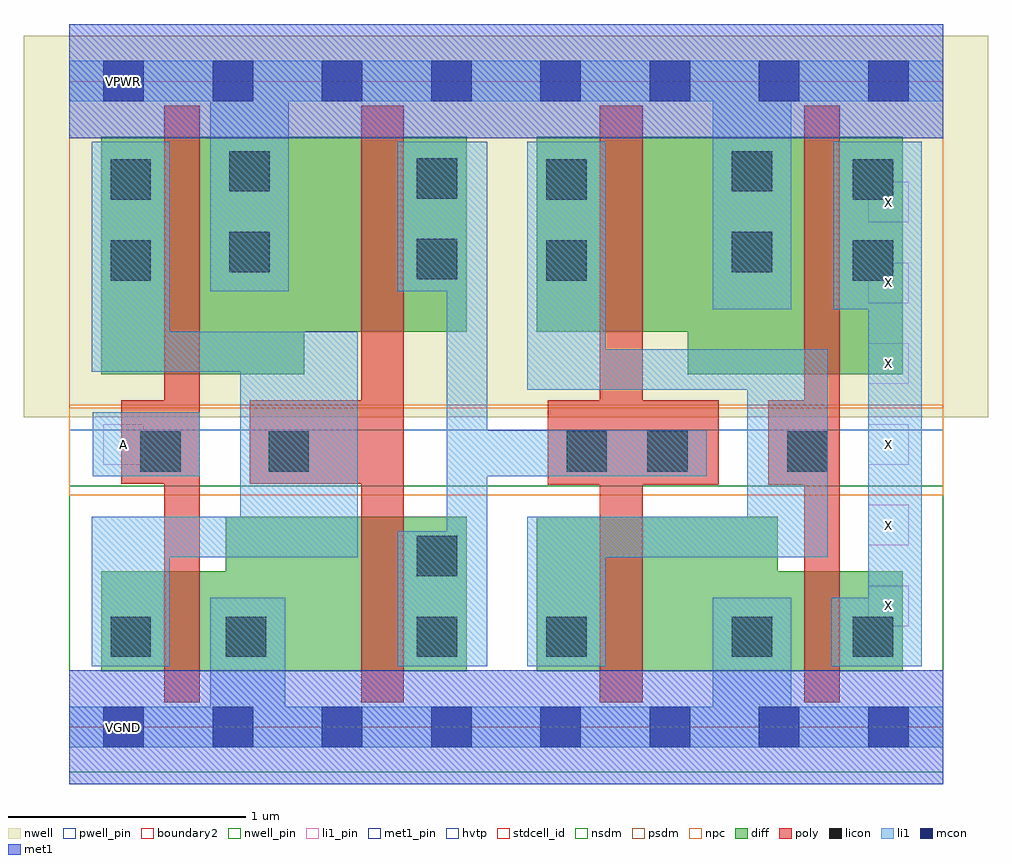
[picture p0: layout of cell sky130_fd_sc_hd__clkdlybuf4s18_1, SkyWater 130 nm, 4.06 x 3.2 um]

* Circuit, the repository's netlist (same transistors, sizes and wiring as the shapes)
* Copyright 2020 The SkyWater PDK Authors
*
* Licensed under the Apache License, Version 2.0 (the "License");
* you may not use this file except in compliance with the License.
* You may obtain a copy of the License at
*
*     https://www.apache.org/licenses/LICENSE-2.0
*
* Unless required by applicable law or agreed to in writing, software
* distributed under the License is distributed on an "AS IS" BASIS,
* WITHOUT WARRANTIES OR CONDITIONS OF ANY KIND, either express or implied.
* See the License for the specific language governing permissions and
* limitations under the License.
*
* SPDX-License-Identifier: Apache-2.0

.SUBCKT sky130_fd_sc_hd__clkdlybuf4s18_1 A VGND VNB VPB VPWR X
*.PININFO A:I VGND:I VNB:I VPB:I VPWR:I X:O
MMIN1 Ab A VGND VNB sky130_fd_pr__nfet_01v8 m=1 w=0.42u l=0.15u mult=1 sa=0.265
+ sb=0.265 sd=0.28 area=0.063 perim=1.14
MMIN2 A2 Ab VGND VNB sky130_fd_pr__nfet_01v8 m=1 w=0.65u l=0.18U mult=1 sa=0.265
+ sb=0.265 sd=0.28 area=0.063 perim=1.14
MI5 Ab2 A2 VGND VNB sky130_fd_pr__nfet_01v8 m=1 w=0.65u l=0.18U mult=1 sa=0.265
+ sb=0.265 sd=0.28 area=0.063 perim=1.14
MI4 X Ab2 VGND VNB sky130_fd_pr__nfet_01v8 m=1 w=0.42u l=0.15u mult=1 sa=0.265
+ sb=0.265 sd=0.28 area=0.063 perim=1.14
MMIP1 Ab A VPWR VPB sky130_fd_pr__pfet_01v8_hvt m=1 w=1.0u l=0.15u mult=1 sa=0.265
+ sb=0.265 sd=0.28 area=0.063 perim=1.14
MMIP2 A2 Ab VPWR VPB sky130_fd_pr__pfet_01v8_hvt m=1 w=0.82U l=0.18U mult=1 sa=0.265
+ sb=0.265 sd=0.28 area=0.063 perim=1.14
MI7 Ab2 A2 VPWR VPB sky130_fd_pr__pfet_01v8_hvt m=1 w=0.82U l=0.18U mult=1 sa=0.265
+ sb=0.265 sd=0.28 area=0.063 perim=1.14
MI6 X Ab2 VPWR VPB sky130_fd_pr__pfet_01v8_hvt m=1 w=1.0u l=0.15u mult=1 sa=0.265
+ sb=0.265 sd=0.28 area=0.063 perim=1.14
.ENDS sky130_fd_sc_hd__clkdlybuf4s18_1

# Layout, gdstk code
import gdstk
lib = gdstk.Library(unit=1e-6, precision=1e-09)
def R(c, l, rs):  # rectangles x0, y0, x1, y1
    for r in rs: c.add(gdstk.rectangle(r[:2], r[2:], *l))
def A(c, l, x, y, w, h, nx, ny, dx, dy):  # array of equal rectangles
    R(c, l, [(x+i*dx, y+j*dy, x+i*dx+w, y+j*dy+h) for i in range(nx) for j in range(ny)])
def P(c, l, *ps):  # polygons
    for p in ps: c.add(gdstk.Polygon(p, *l))
nwell_pin = (64, 16)
nwell = (64, 20)
diff = (65, 20)
poly = (66, 20)
licon = (66, 44)
li1_pin = (67, 16)
li1 = (67, 20)
mcon = (67, 44)
met1_pin = (68, 16)
met1 = (68, 20)
hvtp = (78, 44)
stdcell_id = (81, 4)
nsdm = (93, 44)
psdm = (94, 20)
npc = (95, 20)
pwell_pin = (122, 16)
boundary2 = (236, 0)

sky130_fd_sc_hd__clkdlyb = lib.new_cell('sky130_fd_sc_hd__clkdlybuf4s18_1')
R(sky130_fd_sc_hd__clkdlyb, nwell_pin, [(0.145,2.635,0.315,2.805)])
R(sky130_fd_sc_hd__clkdlyb, nwell, [(-0.19,1.305,3.87,2.91)])
P(sky130_fd_sc_hd__clkdlyb, diff, [(3.51,0.655),(2.985,0.655),(2.985,0.885),(1.97,0.885),(1.97,0.235),(3.51,0.235)],
  [(3.51,2.485),(1.97,2.485),(1.97,1.665),(2.605,1.665),(2.605,1.485),(3.51,1.485)],
  [(1.675,0.885),(0.66,0.885),(0.66,0.655),(0.135,0.655),(0.135,0.235),(1.675,0.235)],
  [(1.675,2.485),(0.135,2.485),(0.135,1.485),(0.99,1.485),(0.99,1.665),(1.675,1.665)])
P(sky130_fd_sc_hd__clkdlyb, poly, [(3.245,2.615),(3.095,2.615),(3.095,1.375),(2.945,1.375),(2.945,1.02),(3.095,1.02),(3.095,0.105),(3.245,0.105)],
  [(2.735,1.375),(2.415,1.375),(2.415,2.615),(2.235,2.615),(2.235,1.375),(2.015,1.375),(2.015,1.02),(2.235,1.02),(2.235,0.105),(2.415,0.105),(2.415,1.02),(2.735,1.02)],
  [(1.41,2.615),(1.23,2.615),(1.23,1.375),(0.76,1.375),(0.76,1.025),(1.23,1.025),(1.23,0.105),(1.41,0.105)],
  [(0.55,2.615),(0.4,2.615),(0.4,1.375),(0.22,1.375),(0.22,1.025),(0.4,1.025),(0.4,0.105),(0.55,0.105)])
R(sky130_fd_sc_hd__clkdlyb, licon, [(0.175,0.295,0.345,0.465), (0.66,0.295,0.83,0.465), (1.465,0.295,1.635,0.465), (2.01,0.295,2.18,0.465), (2.79,0.295,2.96,0.465), (3.3,0.295,3.47,0.465), (1.465,0.635,1.635,0.805), (0.3,1.075,0.47,1.245), (0.84,1.075,1.01,1.245), (2.095,1.075,2.265,1.245), (2.435,1.075,2.605,1.245), (3.025,1.075,3.195,1.245), (0.175,1.88,0.345,2.05), (2.01,1.88,2.18,2.05), (3.3,1.88,3.47,2.05), (1.465,1.885,1.635,2.055), (0.675,1.915,0.845,2.085), (2.79,1.915,2.96,2.085), (0.175,2.22,0.345,2.39), (2.01,2.22,2.18,2.39), (3.3,2.22,3.47,2.39), (1.465,2.225,1.635,2.395), (0.675,2.255,0.845,2.425), (2.79,2.255,2.96,2.425)])
A(sky130_fd_sc_hd__clkdlyb, li1_pin, 3.365, 0.425, 0.17, 0.17, 1, 6, 0, 0.34)
R(sky130_fd_sc_hd__clkdlyb, li1_pin, [(0.145,1.105,0.315,1.275)])
R(sky130_fd_sc_hd__clkdlyb, li1, [(0.1,1.055,0.55,1.325)])
P(sky130_fd_sc_hd__clkdlyb, li1, [(3.59,2.465),(3.22,2.465),(3.22,1.76),(3.365,1.76),(3.365,0.545),(3.21,0.545),(3.21,0.255),(3.59,0.255)],
  [(3.195,1.59),(2.26,1.59),(2.26,2.465),(1.93,2.465),(1.93,1.42),(2.855,1.42),(2.855,0.885),(1.93,0.885),(1.93,0.255),(2.26,0.255),(2.26,0.715),(3.195,0.715)],
  [(2.685,1.25),(1.76,1.25),(1.76,2.465),(1.385,2.465),(1.385,1.835),(1.59,1.835),(1.59,0.825),(1.385,0.825),(1.385,0.255),(1.76,0.255),(1.76,1.055),(2.685,1.055)],
  [(3.68,0.085),(3.04,0.085),(3.04,0.545),(2.71,0.545),(2.71,0.085),(0.91,0.085),(0.91,0.545),(0.595,0.545),(0.595,0.085),(0,0.085),(0,-0.085),(3.68,-0.085)],
  [(3.68,2.805),(0,2.805),(0,2.635),(0.595,2.635),(0.595,1.835),(0.925,1.835),(0.925,2.635),(2.71,2.635),(2.71,1.76),(3.04,1.76),(3.04,2.635),(3.68,2.635)],
  [(1.215,1.665),(0.425,1.665),(0.425,2.465),(0.095,2.465),(0.095,1.495),(0.72,1.495),(0.72,0.885),(0.095,0.885),(0.095,0.255),(0.425,0.255),(0.425,0.715),(1.215,0.715)])
A(sky130_fd_sc_hd__clkdlyb, mcon, 0.145, -0.085, 0.17, 0.17, 8, 2, 0.46, 2.72)
R(sky130_fd_sc_hd__clkdlyb, met1_pin, [(0.145,-0.085,0.315,0.085), (0.145,2.635,0.315,2.805)])
R(sky130_fd_sc_hd__clkdlyb, hvtp, [(0,1.25,3.68,2.72)])
R(sky130_fd_sc_hd__clkdlyb, stdcell_id, [(0,0,3.68,2.72)])
R(sky130_fd_sc_hd__clkdlyb, nsdm, [(0,-0.19,3.68,1.015)])
R(sky130_fd_sc_hd__clkdlyb, psdm, [(0,1.355,3.68,2.91)])
R(sky130_fd_sc_hd__clkdlyb, npc, [(0,0.975,3.68,1.345)])
R(sky130_fd_sc_hd__clkdlyb, pwell_pin, [(0.145,-0.085,0.315,0.085)])
R(sky130_fd_sc_hd__clkdlyb, boundary2, [(0,0,3.68,2.72)])
sky130_fd_sc_hd__clkdlyb.add(gdstk.FlexPath([(0,2.72),(3.68,2.72)], 0.17, ends="flush", simple_path=True, layer=67, datatype=20))  # li1
sky130_fd_sc_hd__clkdlyb.add(gdstk.FlexPath([(0,0),(3.68,0)], 0.17, ends="flush", simple_path=True, layer=67, datatype=20))  # li1
sky130_fd_sc_hd__clkdlyb.add(gdstk.FlexPath([(0,0),(3.68,0)], 0.48, ends="flush", simple_path=True, layer=68, datatype=20))  # met1
sky130_fd_sc_hd__clkdlyb.add(gdstk.FlexPath([(0,2.72),(3.68,2.72)], 0.48, ends="flush", simple_path=True, layer=68, datatype=20))  # met1
sky130_fd_sc_hd__clkdlyb.add(gdstk.Label('VPWR', (0.23,2.72), layer=68, texttype=5))
sky130_fd_sc_hd__clkdlyb.add(gdstk.Label('VGND', (0.23,0), layer=68, texttype=5))
sky130_fd_sc_hd__clkdlyb.add(gdstk.Label('A', (0.23,1.19), layer=67, texttype=5))
sky130_fd_sc_hd__clkdlyb.add(gdstk.Label('X', (3.45,0.85), layer=67, texttype=5))
sky130_fd_sc_hd__clkdlyb.add(gdstk.Label('X', (3.45,0.51), layer=67, texttype=5))
sky130_fd_sc_hd__clkdlyb.add(gdstk.Label('X', (3.45,1.53), layer=67, texttype=5))
sky130_fd_sc_hd__clkdlyb.add(gdstk.Label('X', (3.45,1.87), layer=67, texttype=5))
sky130_fd_sc_hd__clkdlyb.add(gdstk.Label('X', (3.45,2.21), layer=67, texttype=5))
sky130_fd_sc_hd__clkdlyb.add(gdstk.Label('X', (3.45,1.19), layer=67, texttype=5))
sky130_fd_sc_hd__clkdlyb.add(gdstk.Label('VPB', (0.23,2.72), layer=64, texttype=5))
sky130_fd_sc_hd__clkdlyb.add(gdstk.Label('VNB', (0.23,0), layer=64, texttype=59))
sky130_fd_sc_hd__clkdlyb.add(gdstk.Label('clkdlybuf4s18_1', (0,0), layer=83, texttype=44))

lib.write_gds('sky130_fd_sc_hd__clkdlybuf4s18_1.gds')
